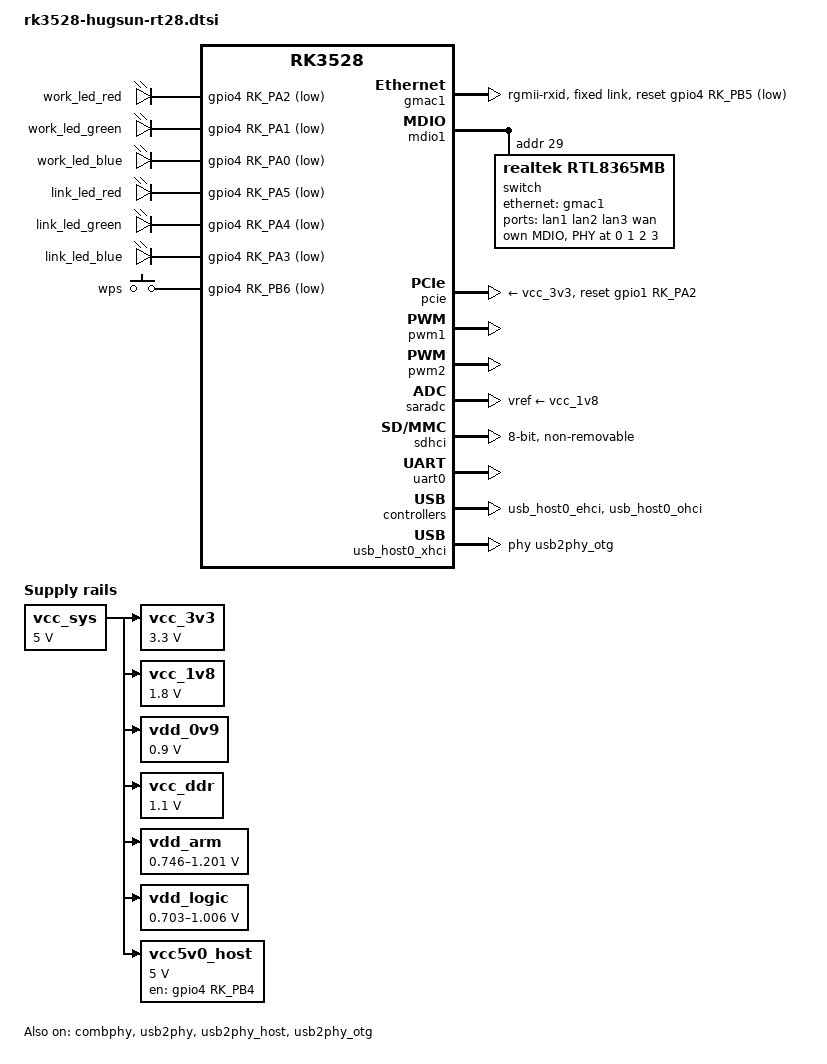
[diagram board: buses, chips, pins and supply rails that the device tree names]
// SPDX-License-Identifier: (GPL-2.0+ OR MIT)
/*
 * Hugsun RT28 (hugsun,rk3528-rt28-route) router board - shared board definitions.
 *
 * Ported from the vendor 6.1 kernel dts (D:\workbuddy\rt28\kernel-6.1\...\rk3528-hugsun-rt28-route.dtsi)
 * to ImmortalWrt 6.18 mainline. Label translations:
 *   combphy_pu -> combphy, pcie2x1 -> pcie, usbdrd_dwc3 -> usb_host0_xhci,
 *   u2phy_otg -> usb2phy_otg, u2phy_host -> usb2phy_host, usbdrd30 -> usb_host0_xhci.
 *
 * Hardware:
 *  - SoC: Rockchip RK3528 (4x Cortex-A53)
 *  - LAN1-3 + LAN4(WAN): RTL8367B switch on GMAC1 (RGMII CPU port, MDIO addr 29)
 *  - WiFi: MT7916 on PCIe2x1
 *  - eMMC boot, USB2, GPIO LEDs (active-low, verified on hardware), WPS button
 */

/dts-v1/;

#include <dt-bindings/gpio/gpio.h>
#include <dt-bindings/input/input.h>
#include <dt-bindings/leds/common.h>
#include <dt-bindings/pinctrl/rockchip.h>
#include <dt-bindings/pwm/pwm.h>

#include "rk3528.dtsi"

/ {
	aliases {
		ethernet0 = &gmac1;
		mmc0 = &sdhci;
		serial0 = &uart0;

		/* sys LED: red while booting, blue when running */
		led-boot = &work_led_red;
		led-failsafe = &work_led_red;
		led-running = &work_led_blue;
		led-upgrade = &work_led_blue;
	};

	chosen {
		stdout-path = "serial0:1500000n8";
	};

	/* Work (red/green/blue) + link (red/green/blue) LEDs, all active-low.
	 * sys (work): red during boot, blue when running (green unused).
	 * link: yellow (red+green) while WAN is down, blue when WAN is up
	 * (toggled by /etc/hotplug.d/iface/99-rt28-link-led).
	 */
	gpio-leds {
		compatible = "gpio-leds";
		pinctrl-names = "default";
		pinctrl-0 = <&led_pins>;

		work_led_red: work_red {
			gpios = <&gpio4 RK_PA2 GPIO_ACTIVE_LOW>;
			linux,default-trigger = "none";
			default-state = "off";
		};

		work_led_green: work_green {
			gpios = <&gpio4 RK_PA1 GPIO_ACTIVE_LOW>;
			linux,default-trigger = "none";
			default-state = "off";
		};

		work_led_blue: work_blue {
			gpios = <&gpio4 RK_PA0 GPIO_ACTIVE_LOW>;
			linux,default-trigger = "none";
			default-state = "off";
		};

		link_led_red: link_red {
			gpios = <&gpio4 RK_PA5 GPIO_ACTIVE_LOW>;
			linux,default-trigger = "none";
			default-state = "on";
		};

		link_led_green: link_green {
			gpios = <&gpio4 RK_PA4 GPIO_ACTIVE_LOW>;
			linux,default-trigger = "none";
			default-state = "on";
		};

		link_led_blue: link_blue {
			gpios = <&gpio4 RK_PA3 GPIO_ACTIVE_LOW>;
			linux,default-trigger = "none";
			default-state = "off";
		};
	};

	gpio-keys {
		compatible = "gpio-keys";
		pinctrl-names = "default";
		pinctrl-0 = <&wps_key_pin>;

		wps {
			label = "wps";
			gpios = <&gpio4 RK_PB6 GPIO_ACTIVE_LOW>;
			linux,code = <KEY_WPS_BUTTON>;
		};
	};

	vcc_sys: regulator-vcc-sys {
		compatible = "regulator-fixed";
		regulator-name = "vcc_sys";
		regulator-always-on;
		regulator-boot-on;
		regulator-min-microvolt = <5000000>;
		regulator-max-microvolt = <5000000>;
	};

	vcc_3v3: regulator-3v3 {
		compatible = "regulator-fixed";
		regulator-name = "vcc_3v3";
		regulator-always-on;
		regulator-boot-on;
		regulator-min-microvolt = <3300000>;
		regulator-max-microvolt = <3300000>;
		vin-supply = <&vcc_sys>;
	};

	vcc_1v8: regulator-1v8 {
		compatible = "regulator-fixed";
		regulator-name = "vcc_1v8";
		regulator-always-on;
		regulator-boot-on;
		regulator-min-microvolt = <1800000>;
		regulator-max-microvolt = <1800000>;
		vin-supply = <&vcc_sys>;
	};

	vdd_0v9: regulator-0v9 {
		compatible = "regulator-fixed";
		regulator-name = "vdd_0v9";
		regulator-always-on;
		regulator-boot-on;
		regulator-min-microvolt = <900000>;
		regulator-max-microvolt = <900000>;
		vin-supply = <&vcc_sys>;
	};

	vcc_ddr: regulator-vcc-ddr {
		compatible = "regulator-fixed";
		regulator-name = "vcc_ddr";
		regulator-always-on;
		regulator-boot-on;
		regulator-min-microvolt = <1100000>;
		regulator-max-microvolt = <1100000>;
		vin-supply = <&vcc_sys>;
	};

	vdd_arm: regulator-vdd-arm {
		compatible = "pwm-regulator";
		pwms = <&pwm1 0 5000 PWM_POLARITY_INVERTED>;
		pwm-supply = <&vcc_sys>;
		regulator-name = "vdd_arm";
		regulator-always-on;
		regulator-boot-on;
		regulator-min-microvolt = <746000>;
		regulator-max-microvolt = <1201000>;
		regulator-init-microvolt = <953000>;
		regulator-settling-time-up-us = <250>;
	};

	vdd_logic: regulator-vdd-logic {
		compatible = "pwm-regulator";
		pwms = <&pwm2 0 5000 PWM_POLARITY_INVERTED>;
		pwm-supply = <&vcc_sys>;
		regulator-name = "vdd_logic";
		regulator-always-on;
		regulator-boot-on;
		regulator-min-microvolt = <703000>;
		regulator-max-microvolt = <1006000>;
		regulator-init-microvolt = <900000>;
		regulator-settling-time-up-us = <250>;
	};

	vcc5v0_host: regulator-vcc5v0-host {
		compatible = "regulator-fixed";
		regulator-name = "vcc5v0_host";
		regulator-always-on;
		regulator-boot-on;
		regulator-min-microvolt = <5000000>;
		regulator-max-microvolt = <5000000>;
		enable-active-high;
		gpio = <&gpio4 RK_PB4 GPIO_ACTIVE_HIGH>;
		pinctrl-names = "default";
		pinctrl-0 = <&vcc5v0_host_en>;
		vin-supply = <&vcc_sys>;
	};
};

&combphy {
	status = "okay";
};

&cpu0 {
	cpu-supply = <&vdd_arm>;
};

&cpu1 {
	cpu-supply = <&vdd_arm>;
};

&cpu2 {
	cpu-supply = <&vdd_arm>;
};

&cpu3 {
	cpu-supply = <&vdd_arm>;
};

&gmac0 {
	status = "disabled";
};

&gmac1 {
	/delete-property/ power-domains;
	phy-mode = "rgmii-rxid";
	clock_in_out = "output";

	assigned-clocks = <&cru CLK_GMAC1_SRC_VPU>, <&cru CLK_GMAC1_RMII_VPU>;
	assigned-clock-rates = <125000000>, <50000000>;

	snps,reset-gpio = <&gpio4 RK_PB5 GPIO_ACTIVE_LOW>;
	snps,reset-active-low;
	snps,reset-delays-us = <0 20000 100000>;

	tx_delay = <0x30>;

	pinctrl-names = "default";
	pinctrl-0 = <&rgmii_miim>, <&rgmii_tx_bus2>, <&rgmii_rx_bus2>,
		    <&rgmii_rgmii_clk>, <&rgmii_rgmii_bus>;
	status = "okay";

	/* DSA master: the RGMII link to the switch CPU port is fixed */
	fixed-link {
		speed = <1000>;
		full-duplex;
	};
};

&mdio1 {
	/* RTL8376RB switch (RTL8365MB-family DSA driver) on MDIO addr 29 */
	switch@1d {
		compatible = "realtek,rtl8365mb";
		reg = <29>;

		ports {
			#address-cells = <1>;
			#size-cells = <0>;

			port@0 {
				reg = <0>;
				label = "lan1";
				phy-handle = <&sw_phy0>;
			};
			port@1 {
				reg = <1>;
				label = "lan2";
				phy-handle = <&sw_phy1>;
			};
			port@2 {
				reg = <2>;
				label = "lan3";
				phy-handle = <&sw_phy2>;
			};
			port@3 {
				reg = <3>;
				label = "wan";
				phy-handle = <&sw_phy3>;
			};
			port@7 {
				reg = <7>;
				ethernet = <&gmac1>;
				phy-mode = "rgmii";
				rx-internal-delay-ps = <2000>;
				tx-internal-delay-ps = <2000>;

				fixed-link {
					speed = <1000>;
					full-duplex;
				};
			};
		};

		mdio {
			#address-cells = <1>;
			#size-cells = <0>;

			sw_phy0: ethernet-phy@0 {
				reg = <0>;
			};
			sw_phy1: ethernet-phy@1 {
				reg = <1>;
			};
			sw_phy2: ethernet-phy@2 {
				reg = <2>;
			};
			sw_phy3: ethernet-phy@3 {
				reg = <3>;
			};
		};
	};
};

&pcie {
	pinctrl-names = "default";
	pinctrl-0 = <&pciem1_pins>;
	reset-gpios = <&gpio1 RK_PA2 GPIO_ACTIVE_HIGH>;
	vpcie3v3-supply = <&vcc_3v3>;
	status = "okay";
};

&pinctrl {
	leds {
		led_pins: led-pins {
			rockchip,pins = <4 RK_PA0 RK_FUNC_GPIO &pcfg_pull_none>,
					<4 RK_PA1 RK_FUNC_GPIO &pcfg_pull_none>,
					<4 RK_PA2 RK_FUNC_GPIO &pcfg_pull_none>,
					<4 RK_PA3 RK_FUNC_GPIO &pcfg_pull_none>,
					<4 RK_PA4 RK_FUNC_GPIO &pcfg_pull_none>,
					<4 RK_PA5 RK_FUNC_GPIO &pcfg_pull_none>;
		};
	};

	keys {
		wps_key_pin: wps-key-pin {
			rockchip,pins = <4 RK_PB6 RK_FUNC_GPIO &pcfg_pull_up>;
		};
	};

	usb {
		vcc5v0_host_en: vcc5v0-host-en {
			rockchip,pins = <4 RK_PB4 RK_FUNC_GPIO &pcfg_pull_none>;
		};
	};
};

&pwm1 {
	status = "okay";
};

&pwm2 {
	status = "okay";
};

&saradc {
	status = "okay";
	vref-supply = <&vcc_1v8>;
};

&sdhci {
	bus-width = <8>;
	cap-mmc-highspeed;
	mmc-hs200-1_8v;
	max-frequency = <200000000>;
	no-sd;
	no-sdio;
	non-removable;
	status = "okay";
};

&sdio0 {
	status = "disabled";
};

&sdmmc {
	status = "disabled";
};

&uart0 {
	status = "okay";
	pinctrl-names = "default";
	pinctrl-0 = <&uart0m0_xfer>;
};

&uart2 {
	status = "disabled";
};

&usb2phy {
	status = "okay";
};

&usb2phy_host {
	status = "okay";
};

&usb2phy_otg {
	status = "okay";
};

&usb_host0_ehci {
	status = "okay";
};

&usb_host0_ohci {
	status = "okay";
};

&usb_host0_xhci {
	maximum-speed = "high-speed";
	phys = <&usb2phy_otg>;
	phy-names = "usb2-phy";
	status = "okay";
};
